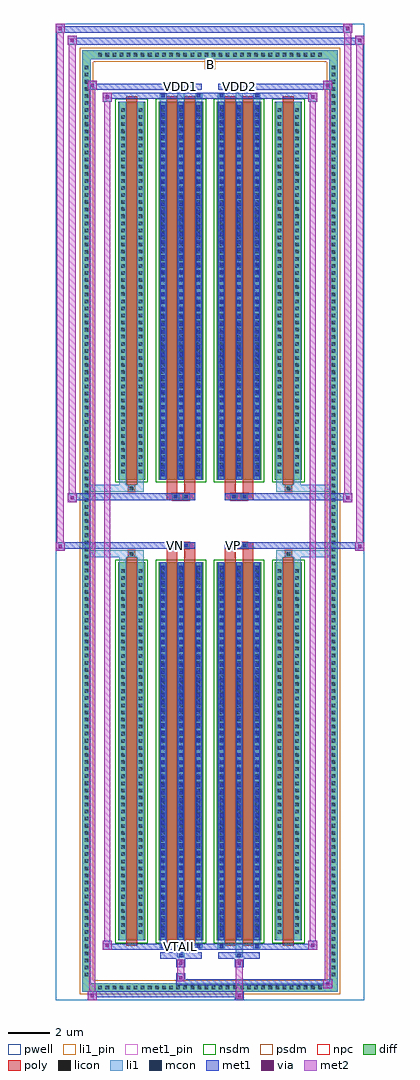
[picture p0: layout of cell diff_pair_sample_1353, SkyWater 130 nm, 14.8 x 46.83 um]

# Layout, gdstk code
import gdstk
lib = gdstk.Library(unit=1e-6, precision=5e-09)
def R(c, l, rs):  # rectangles x0, y0, x1, y1
    for r in rs: c.add(gdstk.rectangle(r[:2], r[2:], *l))
def A(c, l, x, y, w, h, nx, ny, dx, dy):  # array of equal rectangles
    R(c, l, [(x+i*dx, y+j*dy, x+i*dx+w, y+j*dy+h) for i in range(nx) for j in range(ny)])
def P(c, l, *ps):  # polygons
    for p in ps: c.add(gdstk.Polygon(p, *l))
pwell = (64, 44)
diff = (65, 20)
poly = (66, 20)
licon = (66, 44)
li1_pin = (67, 16)
li1 = (67, 20)
mcon = (67, 44)
met1_pin = (68, 16)
met1 = (68, 20)
via = (68, 44)
met2 = (69, 20)
nsdm = (93, 44)
psdm = (94, 20)
npc = (95, 20)

diff_pair_sample_1353 = lib.new_cell('diff_pair_sample_1353')
R(diff_pair_sample_1353, pwell, [(-7.4,-22.98,7.4,23.85), (-4.72,-21.17,-0.01,-0.805), (0.01,-21.17,4.72,-0.805), (-4.72,0.805,-0.01,21.17), (0.01,0.805,4.72,21.17)])
A(diff_pair_sample_1353, diff, -5.475, -22.58, 0.41, 0.41, 32, 2, 0.34, 44.75)
A(diff_pair_sample_1353, diff, -6.13, -21.965, 0.41, 0.41, 1, 129, 0, 0.34)
A(diff_pair_sample_1353, diff, 5.72, -21.965, 0.41, 0.41, 1, 129, 0, 0.34)
R(diff_pair_sample_1353, diff, [(-5.475,-22.58,5.475,-22.17), (-6.13,-21.965,-5.72,21.965), (5.72,-21.965,6.13,21.965), (-4.41,-20.125,-3.11,-1.985), (-2.47,-20.125,-0.32,-1.985), (0.32,-20.125,2.47,-1.985), (3.11,-20.125,4.41,-1.985), (-4.41,1.985,-3.11,20.125), (-2.47,1.985,-0.32,20.125), (0.32,1.985,2.47,20.125), (3.11,1.985,4.41,20.125), (-5.475,22.17,5.475,22.58)])
P(diff_pair_sample_1353, diff, [(6.13,22.58),(-6.13,22.58),(-6.13,-22.17),(-5.72,-22.17),(-5.72,22.17),(5.72,22.17),(5.72,-22.17),(-5.72,-22.17),(-6.13,-22.17),(-6.13,-22.58),(6.13,-22.58)])
R(diff_pair_sample_1353, poly, [(-4.02,-20.375,-3.5,-1.735), (-2.08,-20.375,-1.56,-1.735), (-1.23,-20.375,-0.71,-1.735), (0.71,-20.375,1.23,-1.735), (1.56,-20.375,2.08,-1.735), (3.5,-20.375,4.02,-1.735), (-3.925,-1.735,-3.595,-1.405), (-3.925,-1.735,-3.595,-1.405), (-2.08,-1.735,-1.56,-1.335), (-1.23,-1.735,-0.71,-1.335), (0.71,-1.735,1.23,-1.335), (1.56,-1.735,2.08,-1.335), (3.595,-1.735,3.925,-1.405), (3.595,-1.735,3.925,-1.405), (-2.08,-1.335,-0.71,-1.005), (-1.81,-1.335,-1.48,-1.005), (-1.31,-1.335,-0.98,-1.005), (0.71,-1.335,2.08,-1.005), (0.98,-1.335,1.31,-1.005), (1.48,-1.335,1.81,-1.005), (-2.08,1.005,-0.71,1.335), (-1.81,1.005,-1.48,1.335), (-1.31,1.005,-0.98,1.335), (0.71,1.005,2.08,1.335), (0.98,1.005,1.31,1.335), (1.48,1.005,1.81,1.335), (-2.08,1.335,-1.56,1.735), (-1.23,1.335,-0.71,1.735), (0.71,1.335,1.23,1.735), (1.56,1.335,2.08,1.735), (-3.925,1.405,-3.595,1.735), (-3.925,1.405,-3.595,1.735), (3.595,1.405,3.925,1.735), (3.595,1.405,3.925,1.735), (-4.02,1.735,-3.5,20.375), (-2.08,1.735,-1.56,20.375), (-1.23,1.735,-0.71,20.375), (0.71,1.735,1.23,20.375), (1.56,1.735,2.08,20.375), (3.5,1.735,4.02,20.375)])
A(diff_pair_sample_1353, licon, -5.355, -22.46, 0.17, 0.17, 32, 2, 0.34, 44.75)
A(diff_pair_sample_1353, licon, -6.01, -21.845, 0.17, 0.17, 1, 129, 0, 0.34)
A(diff_pair_sample_1353, licon, 5.84, -21.845, 0.17, 0.17, 1, 129, 0, 0.34)
A(diff_pair_sample_1353, licon, -4.27, -19.81, 0.17, 0.17, 1, 52, 0, 0.34)
A(diff_pair_sample_1353, licon, -3.42, -19.81, 0.17, 0.17, 1, 52, 0, 0.34)
A(diff_pair_sample_1353, licon, -2.33, -19.81, 0.17, 0.17, 3, 52, 0.85, 0.34)
A(diff_pair_sample_1353, licon, 0.46, -19.81, 0.17, 0.17, 3, 52, 0.85, 0.34)
A(diff_pair_sample_1353, licon, 3.25, -19.81, 0.17, 0.17, 1, 52, 0, 0.34)
A(diff_pair_sample_1353, licon, 4.1, -19.81, 0.17, 0.17, 1, 52, 0, 0.34)
A(diff_pair_sample_1353, licon, -4.27, 2.3, 0.17, 0.17, 1, 52, 0, 0.34)
A(diff_pair_sample_1353, licon, -3.42, 2.3, 0.17, 0.17, 1, 52, 0, 0.34)
A(diff_pair_sample_1353, licon, -2.33, 2.3, 0.17, 0.17, 3, 52, 0.85, 0.34)
A(diff_pair_sample_1353, licon, 0.46, 2.3, 0.17, 0.17, 3, 52, 0.85, 0.34)
A(diff_pair_sample_1353, licon, 3.25, 2.3, 0.17, 0.17, 1, 52, 0, 0.34)
A(diff_pair_sample_1353, licon, 4.1, 2.3, 0.17, 0.17, 1, 52, 0, 0.34)
R(diff_pair_sample_1353, licon, [(-3.845,-1.655,-3.675,-1.485), (3.675,-1.655,3.845,-1.485), (-1.73,-1.255,-1.56,-1.085), (-1.23,-1.255,-1.06,-1.085), (1.06,-1.255,1.23,-1.085), (1.56,-1.255,1.73,-1.085), (-1.73,1.085,-1.56,1.255), (-1.23,1.085,-1.06,1.255), (1.06,1.085,1.23,1.255), (1.56,1.085,1.73,1.255), (-3.845,1.485,-3.675,1.655), (3.675,1.485,3.845,1.655)])
R(diff_pair_sample_1353, li1_pin, [(-0.25,21.67,0.25,22.17)])
A(diff_pair_sample_1353, li1, -5.435, -22.54, 0.33, 0.33, 32, 2, 0.34, 44.75)
A(diff_pair_sample_1353, li1, -6.09, -21.925, 0.33, 0.33, 1, 129, 0, 0.34)
A(diff_pair_sample_1353, li1, 5.76, -21.925, 0.33, 0.33, 1, 129, 0, 0.34)
A(diff_pair_sample_1353, li1, -2.41, -20.125, 0.33, 18.14, 3, 2, 0.85, 22.11)
A(diff_pair_sample_1353, li1, 0.38, -20.125, 0.33, 18.14, 3, 2, 0.85, 22.11)
A(diff_pair_sample_1353, li1, -2.33, -19.96, 0.17, 0.17, 3, 50, 0.85, 0.36)
A(diff_pair_sample_1353, li1, -2.33, -19.96, 0.17, 17.81, 3, 2, 0.85, 22.11)
A(diff_pair_sample_1353, li1, 0.46, -19.96, 0.17, 0.17, 3, 50, 0.85, 0.36)
A(diff_pair_sample_1353, li1, 0.46, -19.96, 0.17, 17.81, 3, 2, 0.85, 22.11)
A(diff_pair_sample_1353, li1, -4.35, -19.89, 0.33, 0.33, 1, 52, 0, 0.34)
A(diff_pair_sample_1353, li1, -3.5, -19.89, 0.33, 0.33, 1, 52, 0, 0.34)
A(diff_pair_sample_1353, li1, -2.41, -19.89, 0.33, 0.33, 3, 52, 0.85, 0.34)
A(diff_pair_sample_1353, li1, 0.38, -19.89, 0.33, 0.33, 3, 52, 0.85, 0.34)
A(diff_pair_sample_1353, li1, 3.17, -19.89, 0.33, 0.33, 1, 52, 0, 0.34)
A(diff_pair_sample_1353, li1, 4.02, -19.89, 0.33, 0.33, 1, 52, 0, 0.34)
A(diff_pair_sample_1353, li1, -2.33, 2.15, 0.17, 0.17, 3, 50, 0.85, 0.36)
A(diff_pair_sample_1353, li1, 0.46, 2.15, 0.17, 0.17, 3, 50, 0.85, 0.36)
A(diff_pair_sample_1353, li1, -4.35, 2.22, 0.33, 0.33, 1, 52, 0, 0.34)
A(diff_pair_sample_1353, li1, -3.5, 2.22, 0.33, 0.33, 1, 52, 0, 0.34)
A(diff_pair_sample_1353, li1, -2.41, 2.22, 0.33, 0.33, 3, 52, 0.85, 0.34)
A(diff_pair_sample_1353, li1, 0.38, 2.22, 0.33, 0.33, 3, 52, 0.85, 0.34)
A(diff_pair_sample_1353, li1, 3.17, 2.22, 0.33, 0.33, 1, 52, 0, 0.34)
A(diff_pair_sample_1353, li1, 4.02, 2.22, 0.33, 0.33, 1, 52, 0, 0.34)
R(diff_pair_sample_1353, li1, [(-6.13,-22.58,-5.72,-22.17), (-6.13,-22.58,-5.72,-22.17), (-5.72,-22.58,5.72,-22.17), (5.72,-22.58,6.13,-22.17), (5.72,-22.58,6.13,-22.17), (-6.13,-22.17,-5.72,22.17), (5.72,-22.17,6.13,22.17), (-1.56,-20.93,-1.23,-20.125), (-1.48,-20.93,-1.31,-20.76), (1.23,-20.93,1.56,-20.125), (1.31,-20.93,1.48,-20.76), (-2.41,-20.5,-2.08,-20.125), (-2.33,-20.5,-2.16,-20.33), (-0.71,-20.5,-0.38,-20.125), (-0.63,-20.5,-0.46,-20.33), (0.38,-20.5,0.71,-20.125), (0.46,-20.5,0.63,-20.33), (2.08,-20.5,2.41,-20.125), (2.16,-20.5,2.33,-20.33), (-4.35,-20.125,-4.02,-1.985), (-3.5,-20.125,-3.17,-1.985), (3.17,-20.125,3.5,-1.985), (4.02,-20.125,4.35,-1.985), (-4.35,-1.985,-4.02,-1.405), (-3.5,-1.985,-3.17,-1.405), (3.17,-1.985,3.5,-1.405), (4.02,-1.985,4.35,-1.405), (-6.13,-1.735,-3.925,-1.405), (-4.35,-1.735,-3.925,-1.405), (-3.925,-1.735,-3.595,-1.405), (-3.595,-1.735,-3.17,-1.405), (3.17,-1.735,3.595,-1.405), (3.595,-1.735,3.925,-1.405), (3.595,-1.735,6.13,-1.405), (3.925,-1.735,4.35,-1.405), (-1.81,-1.335,-1.48,-1.005), (-1.31,-1.335,-0.98,-1.005), (0.98,-1.335,1.31,-1.005), (1.48,-1.335,1.81,-1.005), (-1.81,1.005,-1.48,1.335), (-1.31,1.005,-0.98,1.335), (0.98,1.005,1.31,1.335), (1.48,1.005,1.81,1.335), (-6.13,1.405,-3.925,1.735), (-4.35,1.405,-3.925,1.735), (-4.35,1.405,-4.02,1.985), (-3.925,1.405,-3.595,1.735), (-3.595,1.405,-3.17,1.735), (-3.5,1.405,-3.17,1.985), (3.17,1.405,3.595,1.735), (3.17,1.405,3.5,1.985), (3.595,1.405,3.925,1.735), (3.595,1.405,6.13,1.735), (3.925,1.405,4.35,1.735), (4.02,1.405,4.35,1.985), (-4.35,1.985,-4.02,20.125), (-3.5,1.985,-3.17,20.125), (3.17,1.985,3.5,20.125), (4.02,1.985,4.35,20.125), (-2.41,20.125,-2.08,20.5), (-1.56,20.125,-1.23,20.93), (-0.71,20.125,-0.38,20.5), (0.38,20.125,0.71,20.5), (1.23,20.125,1.56,20.93), (2.08,20.125,2.41,20.5), (-2.33,20.33,-2.16,20.5), (-0.63,20.33,-0.46,20.5), (0.46,20.33,0.63,20.5), (2.16,20.33,2.33,20.5), (-1.48,20.76,-1.31,20.93), (1.31,20.76,1.48,20.93), (-6.13,22.17,-5.72,22.58), (-6.13,22.17,-5.72,22.58), (-5.72,22.17,5.72,22.58), (5.72,22.17,6.13,22.58), (5.72,22.17,6.13,22.58)])
A(diff_pair_sample_1353, mcon, -2.33, -19.96, 0.17, 0.17, 3, 50, 0.85, 0.36)
A(diff_pair_sample_1353, mcon, 0.46, -19.96, 0.17, 0.17, 3, 50, 0.85, 0.36)
A(diff_pair_sample_1353, mcon, -2.33, 2.15, 0.17, 0.17, 3, 50, 0.85, 0.36)
A(diff_pair_sample_1353, mcon, 0.46, 2.15, 0.17, 0.17, 3, 50, 0.85, 0.36)
R(diff_pair_sample_1353, mcon, [(-1.48,-20.93,-1.31,-20.76), (1.31,-20.93,1.48,-20.76), (-2.33,-20.5,-2.16,-20.33), (-0.63,-20.5,-0.46,-20.33), (0.46,-20.5,0.63,-20.33), (2.16,-20.5,2.33,-20.33), (-1.73,-1.255,-1.56,-1.085), (-1.23,-1.255,-1.06,-1.085), (1.06,-1.255,1.23,-1.085), (1.56,-1.255,1.73,-1.085), (-1.73,1.085,-1.56,1.255), (-1.23,1.085,-1.06,1.255), (1.06,1.085,1.23,1.255), (1.56,1.085,1.73,1.255), (-2.33,20.33,-2.16,20.5), (-0.63,20.33,-0.46,20.5), (0.46,20.33,0.63,20.5), (2.16,20.33,2.33,20.5), (-1.48,20.76,-1.31,20.93), (1.31,20.76,1.48,20.93)])
R(diff_pair_sample_1353, met1_pin, [(-1.53,-20.54,-1.26,-20.27), (-1.78,-1.295,-1.51,-1.025), (1.01,-1.295,1.28,-1.025), (-1.53,20.72,-1.26,20.99), (1.26,20.72,1.53,20.99)])
A(diff_pair_sample_1353, met1, -2.39, -20.125, 0.29, 18.14, 3, 2, 0.85, 22.11)
A(diff_pair_sample_1353, met1, 0.4, -20.125, 0.29, 18.14, 3, 2, 0.85, 22.11)
A(diff_pair_sample_1353, met1, -2.39, -20.02, 0.29, 0.29, 3, 50, 0.85, 0.36)
A(diff_pair_sample_1353, met1, 0.4, -20.02, 0.29, 0.29, 3, 50, 0.85, 0.36)
A(diff_pair_sample_1353, met1, -2.39, 2.09, 0.29, 0.29, 3, 50, 0.85, 0.36)
A(diff_pair_sample_1353, met1, 0.4, 2.09, 0.29, 0.29, 3, 50, 0.85, 0.36)
R(diff_pair_sample_1353, met1, [(-5.86,-22.98,-5.43,-22.55), (1.18,-22.98,1.61,-22.55), (-5.86,-22.84,1.61,-22.55), (5.43,-22.41,5.86,-21.98), (-1.61,-22.27,5.86,-21.98), (-1.61,-22.13,-1.18,-21.7), (-1.61,-21.42,-1.18,-20.99), (1.18,-21.42,1.61,-20.99), (-2.39,-20.99,-0.4,-20.7), (-1.54,-20.99,-1.25,-20.7), (0.4,-20.99,2.39,-20.7), (1.25,-20.99,1.54,-20.7), (-5.15,-20.56,-4.72,-20.13), (-5.15,-20.56,-2.39,-20.27), (-2.39,-20.56,-2.1,-20.27), (-2.39,-20.56,-0.4,-20.27), (-0.69,-20.56,-0.4,-20.27), (-0.4,-20.56,0.4,-20.27), (0.4,-20.56,0.69,-20.27), (0.4,-20.56,2.39,-20.27), (2.1,-20.56,2.39,-20.27), (2.39,-20.56,5.15,-20.27), (4.72,-20.56,5.15,-20.13), (-7.4,-1.435,-6.97,-1.005), (6.97,-1.435,7.4,-1.005), (-7.4,-1.335,-0.71,-1.005), (-2.08,-1.335,-0.71,-1.005), (0.71,-1.335,2.08,-1.005), (0.71,-1.335,7.4,-1.005), (-1.79,-1.315,-1.5,-1.025), (-1.29,-1.315,-1,-1.025), (1,-1.315,1.29,-1.025), (1.5,-1.315,1.79,-1.025), (-6.83,0.905,-6.4,1.335), (6.4,0.905,6.83,1.335), (-6.83,1.005,-2.08,1.335), (-2.08,1.005,-0.71,1.335), (0.71,1.005,2.08,1.335), (2.08,1.005,6.83,1.335), (-1.79,1.025,-1.5,1.315), (-1.29,1.025,-1,1.315), (1,1.025,1.29,1.315), (1.5,1.025,1.79,1.315), (-5.15,20.13,-4.72,20.56), (4.72,20.13,5.15,20.56), (-5.15,20.27,-2.39,20.56), (-2.39,20.27,-2.1,20.56), (-2.39,20.27,-0.4,20.56), (-0.69,20.27,-0.4,20.56), (-0.4,20.27,0.4,20.56), (0.4,20.27,0.69,20.56), (0.4,20.27,2.39,20.56), (2.1,20.27,2.39,20.56), (2.39,20.27,5.15,20.56), (-5.86,20.7,-5.43,21.13), (-5.86,20.7,-2.39,20.99), (-2.39,20.7,-0.4,20.99), (-1.54,20.7,-1.25,20.99), (0.4,20.7,2.39,20.99), (1.25,20.7,1.54,20.99), (2.39,20.7,5.86,20.99), (5.43,20.7,5.86,21.13), (-6.83,22.85,-6.4,23.28), (-6.83,22.85,-4.72,23.18), (-4.72,22.85,4.72,23.18), (4.72,22.85,7.4,23.18), (6.97,22.85,7.4,23.28), (-7.4,23.42,-6.97,23.85), (-7.4,23.42,-4.72,23.75), (-4.72,23.42,4.72,23.75), (4.72,23.42,6.83,23.75), (6.4,23.42,6.83,23.85)])
R(diff_pair_sample_1353, via, [(-5.72,-22.84,-5.57,-22.69), (1.32,-22.84,1.47,-22.69), (5.57,-22.27,5.72,-22.12), (-1.47,-21.99,-1.32,-21.84), (-1.47,-21.28,-1.32,-21.13), (1.32,-21.28,1.47,-21.13), (-5.01,-20.42,-4.86,-20.27), (4.86,-20.42,5.01,-20.27), (-7.26,-1.295,-7.11,-1.145), (7.11,-1.295,7.26,-1.145), (-6.69,1.045,-6.54,1.195), (6.54,1.045,6.69,1.195), (-5.01,20.27,-4.86,20.42), (4.86,20.27,5.01,20.42), (-5.72,20.84,-5.57,20.99), (5.57,20.84,5.72,20.99), (-6.69,22.99,-6.54,23.14), (7.11,22.99,7.26,23.14), (-7.26,23.56,-7.11,23.71), (6.54,23.56,6.69,23.71)])
R(diff_pair_sample_1353, met2, [(-5.86,-22.98,-5.43,-22.55), (-5.79,-22.98,-5.5,21.13), (-5.5,-22.98,-5.43,-22.55), (-5.81,-22.93,-5.48,-22.6), (1.23,-22.93,1.56,-22.6), (1.23,-22.6,1.56,-21.37), (5.43,-22.41,5.86,-21.98), (5.5,-22.41,5.79,21.13), (5.79,-22.41,5.86,-21.98), (5.48,-22.36,5.81,-22.03), (-1.56,-22.08,-1.23,-21.75), (-1.56,-21.75,-1.23,-21.37), (-1.56,-21.37,-1.23,-21.04), (1.23,-21.37,1.56,-21.04), (-5.15,-20.56,-4.72,-20.13), (-5.08,-20.56,-4.79,20.56), (-4.79,-20.56,-4.72,-20.13), (4.72,-20.56,5.15,-20.13), (4.79,-20.56,5.08,20.56), (5.08,-20.56,5.15,-20.13), (-5.1,-20.51,-4.77,-20.18), (4.77,-20.51,5.1,-20.18), (-7.4,-1.435,-6.97,-1.005), (-7.35,-1.435,-7.02,23.85), (-7.02,-1.435,-6.97,-1.005), (6.97,-1.435,7.4,-1.005), (7.02,-1.435,7.35,23.28), (7.35,-1.435,7.4,-1.005), (-7.35,-1.385,-7.02,-1.055), (7.02,-1.385,7.35,-1.055), (-6.83,0.905,-6.4,1.335), (-6.78,0.905,-6.45,23.28), (-6.45,0.905,-6.4,1.335), (6.4,0.905,6.83,1.335), (6.45,0.905,6.78,23.85), (6.78,0.905,6.83,1.335), (-6.78,0.955,-6.45,1.285), (6.45,0.955,6.78,1.285), (-5.15,20.13,-4.72,20.56), (-4.79,20.13,-4.72,20.56), (4.72,20.13,5.15,20.56), (5.08,20.13,5.15,20.56), (-5.1,20.18,-4.77,20.51), (4.77,20.18,5.1,20.51), (-5.86,20.7,-5.43,21.13), (-5.5,20.7,-5.43,21.13), (5.43,20.7,5.86,21.13), (5.79,20.7,5.86,21.13), (-5.81,20.75,-5.48,21.08), (5.48,20.75,5.81,21.08), (-6.83,22.85,-6.4,23.28), (-6.45,22.85,-6.4,23.28), (6.97,22.85,7.4,23.28), (7.35,22.85,7.4,23.28), (-6.78,22.9,-6.45,23.23), (7.02,22.9,7.35,23.23), (-7.4,23.42,-6.97,23.85), (-7.02,23.42,-6.97,23.85), (6.4,23.42,6.83,23.85), (6.78,23.42,6.83,23.85), (-7.35,23.47,-7.02,23.8), (6.45,23.47,6.78,23.8)])
R(diff_pair_sample_1353, nsdm, [(-4.54,-20.255,-2.98,-1.855), (-2.6,-20.255,-0.19,-1.855), (0.19,-20.255,2.6,-1.855), (2.98,-20.255,4.54,-1.855), (-4.54,1.855,-2.98,20.255), (-2.6,1.855,-0.19,20.255), (0.19,1.855,2.6,20.255), (2.98,1.855,4.54,20.255)])
P(diff_pair_sample_1353, psdm, [(6.26,22.71),(-6.26,22.71),(-6.26,-22.04),(-5.59,-22.04),(-5.59,22.04),(5.59,22.04),(5.59,-22.04),(-5.59,-22.04),(-6.26,-22.04),(-6.26,-22.71),(6.26,-22.71)])
R(diff_pair_sample_1353, npc, [(-3.945,-1.755,-3.575,-1.385), (3.575,-1.755,3.945,-1.385), (-1.83,-1.355,-1.46,-0.985), (-1.83,-1.355,-0.96,-0.985), (-1.83,-1.355,-0.96,-0.985), (-1.33,-1.355,-0.96,-0.985), (0.96,-1.355,1.33,-0.985), (0.96,-1.355,1.83,-0.985), (0.96,-1.355,1.83,-0.985), (1.46,-1.355,1.83,-0.985), (-1.83,0.985,-1.46,1.355), (-1.83,0.985,-0.96,1.355), (-1.83,0.985,-0.96,1.355), (-1.33,0.985,-0.96,1.355), (0.96,0.985,1.33,1.355), (0.96,0.985,1.83,1.355), (0.96,0.985,1.83,1.355), (1.46,0.985,1.83,1.355), (-3.945,1.385,-3.575,1.755), (3.575,1.385,3.945,1.755)])
diff_pair_sample_1353.add(gdstk.Label('VTAIL', (-1.395,-20.405), layer=68, texttype=5))
diff_pair_sample_1353.add(gdstk.Label('VN', (-1.645,-1.16), layer=68, texttype=5))
diff_pair_sample_1353.add(gdstk.Label('VP', (1.145,-1.16), layer=68, texttype=5))
diff_pair_sample_1353.add(gdstk.Label('B', (0,21.92), layer=67, texttype=5))
diff_pair_sample_1353.add(gdstk.Label('VDD2', (1.395,20.855), layer=68, texttype=5))
diff_pair_sample_1353.add(gdstk.Label('VDD1', (-1.395,20.855), layer=68, texttype=5))

lib.write_gds('diff_pair_sample_1353.gds')
